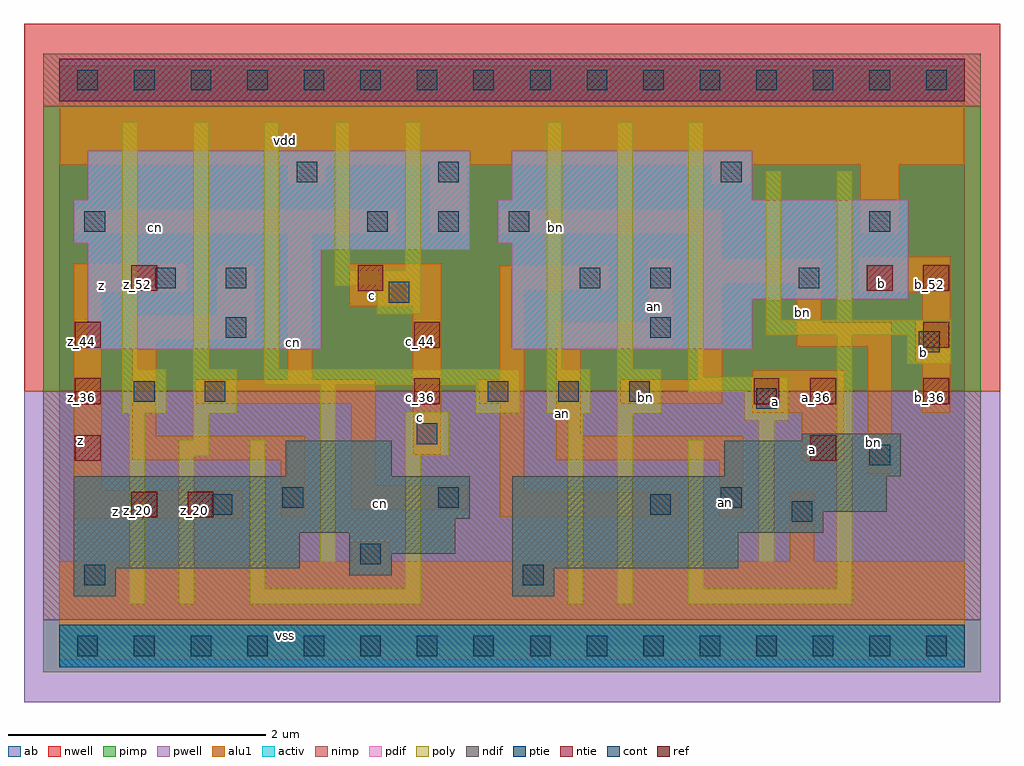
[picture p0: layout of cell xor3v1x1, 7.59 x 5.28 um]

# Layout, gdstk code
import gdstk
lib = gdstk.Library(unit=1e-6, precision=2.5e-09)
def R(c, l, rs):  # rectangles x0, y0, x1, y1
    for r in rs: c.add(gdstk.rectangle(r[:2], r[2:], *l))
def A(c, l, x, y, w, h, nx, ny, dx, dy):  # array of equal rectangles
    R(c, l, [(x+i*dx, y+j*dy, x+i*dx+w, y+j*dy+h) for i in range(nx) for j in range(ny)])
ndif = (3, 0)
pdif = (4, 0)
ntie = (5, 0)
ptie = (6, 0)
ref = (24, 0)
cont = (25, 0)
pwell = (41, 0)
nwell = (42, 0)
activ = (43, 0)
pimp = (44, 0)
nimp = (45, 0)
poly = (46, 0)
alu1 = (49, 0)
ab = (63, 0)

xor3v1x1 = lib.new_cell('xor3v1x1')
R(xor3v1x1, ndif, [(0.11,0.385,0.44,0.605), (3.52,0.385,3.85,0.605), (2.255,0.55,2.585,0.715), (0.11,0.605,1.87,0.88), (3.52,0.605,5.28,0.88), (2.255,0.715,3.08,0.88), (0.11,0.88,3.08,0.99), (3.52,0.88,5.94,1.045), (0.11,0.99,3.19,1.32), (3.52,1.045,6.435,1.32), (1.76,1.32,2.585,1.595), (5.17,1.32,6.545,1.595), (5.775,1.595,6.545,1.65)])
R(xor3v1x1, pdif, [(0.22,2.31,2.035,3.08), (3.52,2.31,5.39,2.695), (3.52,2.695,6.6,3.135), (0.22,3.08,3.19,3.135), (0.11,3.135,3.19,3.465), (3.41,3.135,6.6,3.465), (0.22,3.465,3.19,3.85), (3.52,3.465,5.39,3.85)])
R(xor3v1x1, ntie, [(0,4.235,7.04,4.565)])
R(xor3v1x1, ptie, [(0,-0.165,7.04,0.165)])
A(xor3v1x1, ref, 0.12, 1.88, 0.2, 0.2, 3, 1, 2.64, 0)
A(xor3v1x1, ref, 6.72, 1.88, 0.2, 0.2, 1, 3, 0, 0.44)
R(xor3v1x1, ref, [(0.56,1,0.76,1.2), (1,1,1.2,1.2), (0.12,1.44,0.32,1.64), (5.84,1.44,6.04,1.64), (5.84,1.88,6.04,2.08), (0.12,2.32,0.32,2.52), (2.76,2.32,2.96,2.52), (0.56,2.76,0.76,2.96), (2.32,2.76,2.52,2.96), (6.28,2.76,6.48,2.96)])
A(xor3v1x1, cont, 0.14, -0.08, 0.16, 0.16, 16, 2, 0.44, 4.4)
A(xor3v1x1, cont, 3.33, 1.9, 0.16, 0.16, 3, 1, 0.55, 0)
A(xor3v1x1, cont, 2.395, 3.22, 0.16, 0.16, 3, 1, 0.55, 0)
R(xor3v1x1, cont, [(0.195,0.47,0.355,0.63), (3.605,0.47,3.765,0.63), (2.34,0.635,2.5,0.795), (5.695,0.965,5.855,1.125), (1.185,1.02,1.345,1.18), (4.595,1.02,4.755,1.18), (1.735,1.075,1.895,1.235), (2.945,1.075,3.105,1.235), (5.145,1.075,5.305,1.235), (6.3,1.405,6.46,1.565), (2.78,1.57,2.94,1.73), (5.42,1.845,5.58,2.005), (0.58,1.9,0.74,2.06), (1.13,1.9,1.29,2.06), (6.685,2.285,6.845,2.445), (1.295,2.395,1.455,2.555), (4.595,2.395,4.755,2.555), (2.56,2.67,2.72,2.83), (0.745,2.78,0.905,2.94), (1.295,2.78,1.455,2.94), (4.045,2.78,4.205,2.94), (4.595,2.78,4.755,2.94), (5.75,2.78,5.91,2.94), (0.195,3.22,0.355,3.38), (6.3,3.22,6.46,3.38), (1.845,3.605,2.005,3.765), (2.945,3.605,3.105,3.765), (5.145,3.605,5.305,3.765)])
R(xor3v1x1, pwell, [(-0.275,-0.44,7.315,1.98)])
R(xor3v1x1, nwell, [(-0.275,1.98,7.315,4.84)])
R(xor3v1x1, activ, [(0,-0.165,7.04,0.165), (0.11,0.385,0.44,0.605), (3.52,0.385,3.85,0.605), (2.255,0.55,2.585,0.715), (0.11,0.605,1.87,0.88), (3.52,0.605,5.28,0.88), (2.255,0.715,3.08,0.88), (0.11,0.88,3.08,0.99), (3.52,0.88,5.94,1.045), (0.11,0.99,3.19,1.32), (3.52,1.045,6.435,1.32), (1.76,1.32,2.585,1.595), (5.17,1.32,6.545,1.595), (5.775,1.595,6.545,1.65), (0.22,2.31,2.035,3.08), (3.52,2.31,5.39,2.695), (3.52,2.695,6.6,3.135), (0.22,3.08,3.19,3.135), (0.11,3.135,3.19,3.465), (3.41,3.135,6.6,3.465), (0.22,3.465,3.19,3.85), (3.52,3.465,5.39,3.85), (0,4.235,7.04,4.565)])
R(xor3v1x1, pimp, [(-0.125,-0.205,7.165,0.205), (-0.125,1.98,7.165,4.195)])
R(xor3v1x1, nimp, [(-0.125,0.205,7.165,1.98), (-0.125,4.195,7.165,4.605)])
A(xor3v1x1, poly, 0.49, 2.15, 0.12, 1.925, 3, 1, 0.55, 0)
R(xor3v1x1, poly, [(0.545,0.325,0.665,1.81), (0.93,0.325,1.05,1.48), (1.48,0.325,2.81,0.445), (3.955,0.325,4.075,1.81), (4.34,0.325,4.46,1.81), (4.89,0.325,6.165,0.445), (1.48,0.445,1.6,1.6), (2.69,0.445,2.81,1.48), (4.89,0.445,5.01,1.6), (6.045,0.445,6.165,2.415), (2.03,0.655,2.15,2.03), (5.44,0.655,5.56,1.755), (0.93,1.48,1.16,1.6), (2.69,1.48,3.03,1.82), (1.04,1.6,1.16,1.81), (5.33,1.755,5.67,1.975), (0.49,1.81,0.83,2.15), (1.04,1.81,1.38,2.15), (3.24,1.81,3.58,2.03), (3.79,1.81,4.13,2.15), (4.34,1.81,4.68,2.15), (4.89,1.975,5.67,2.095), (1.59,2.03,3.58,2.15), (4.89,2.095,5.01,4.075), (3.79,2.15,3.91,4.075), (4.34,2.15,4.46,4.075), (6.595,2.195,6.935,2.415), (5.495,2.415,6.935,2.535), (5.495,2.535,5.615,3.69), (6.045,2.535,6.165,3.69), (2.47,2.58,2.81,2.8), (2.14,2.8,2.81,2.92), (2.14,2.92,2.26,4.075), (2.69,2.92,2.81,4.075)])
R(xor3v1x1, alu1, [(0,-0.11,7.04,0.66), (2.27,0.66,2.57,0.81), (5.68,0.66,5.87,1.195), (0.11,0.99,1.43,1.21), (1.72,1.005,1.91,1.445), (3.425,1.005,4.825,1.195), (5.13,1.005,5.32,1.445), (2.27,1.06,3.175,1.25), (3.425,1.195,3.615,1.885), (0.11,1.21,0.33,2.75), (2.27,1.25,2.46,1.885), (6.285,1.335,6.475,2.325), (5.775,1.43,6.105,1.815), (0.565,1.445,1.91,1.635), (3.865,1.445,5.32,1.635), (2.75,1.485,2.97,2.64), (0.565,1.635,0.755,2.38), (3.865,1.635,4.055,2.325), (5.39,1.815,6.105,2.145), (6.71,1.815,6.93,2.2), (1.06,1.885,2.46,2.075), (3.26,1.885,3.615,2.075), (4.36,1.885,5.155,2.075), (1.775,2.075,1.965,3.205), (3.425,2.075,3.615,2.765), (4.965,2.075,5.155,2.82), (6.655,2.2,6.93,2.53), (3.865,2.325,4.77,2.515), (5.735,2.325,6.475,2.515), (0.565,2.38,1.525,2.57), (4.58,2.515,4.77,3.01), (5.735,2.515,5.925,2.82), (6.71,2.53,6.93,2.75), (1.225,2.57,1.525,2.955), (2.255,2.64,2.97,2.97), (0.11,2.75,0.99,2.97), (6.215,2.75,6.93,3.025), (3.425,2.765,4.275,2.955), (4.965,2.82,5.925,3.01), (4.965,3.01,5.155,3.205), (0.125,3.205,2.625,3.395), (2.875,3.205,3.175,3.74), (3.425,3.205,5.155,3.395), (6.23,3.205,6.53,3.74), (1.775,3.59,2.075,3.74), (5.075,3.59,5.375,3.74), (0,3.74,7.04,4.51)])
R(xor3v1x1, ab, [(0,0,7.04,4.4)])
xor3v1x1.add(gdstk.Label('vss', (1.76,0.0825), layer=49, texttype=0))
xor3v1x1.add(gdstk.Label('b', (6.7225,2.2825), layer=49, texttype=0))
xor3v1x1.add(gdstk.Label('bn', (6.3325,1.5825), layer=49, texttype=0))
xor3v1x1.add(gdstk.Label('a', (5.8575,1.525), layer=49, texttype=0))
xor3v1x1.add(gdstk.Label('an', (5.1775,1.115), layer=49, texttype=0))
xor3v1x1.add(gdstk.Label('a', (5.5675,1.8975), layer=49, texttype=0))
xor3v1x1.add(gdstk.Label('bn', (4.5575,1.9325), layer=49, texttype=0))
xor3v1x1.add(gdstk.Label('b', (6.3925,2.8175), layer=49, texttype=0))
xor3v1x1.add(gdstk.Label('bn', (5.7825,2.59), layer=49, texttype=0))
xor3v1x1.add(gdstk.Label('an', (3.9125,1.8075), layer=49, texttype=0))
xor3v1x1.add(gdstk.Label('cn', (2.495,1.1075), layer=49, texttype=0))
xor3v1x1.add(gdstk.Label('an', (4.6275,2.6375), layer=49, texttype=0))
xor3v1x1.add(gdstk.Label('c', (2.805,1.7725), layer=49, texttype=0))
xor3v1x1.add(gdstk.Label('z', (0.44,1.045), layer=49, texttype=0))
xor3v1x1.add(gdstk.Label('c', (2.4325,2.7225), layer=49, texttype=0))
xor3v1x1.add(gdstk.Label('cn', (1.8225,2.3575), layer=49, texttype=0))
xor3v1x1.add(gdstk.Label('z', (0.165,1.595), layer=49, texttype=0))
xor3v1x1.add(gdstk.Label('z', (0.33,2.805), layer=49, texttype=0))
xor3v1x1.add(gdstk.Label('bn', (3.8575,3.2525), layer=49, texttype=0))
xor3v1x1.add(gdstk.Label('cn', (0.75,3.2525), layer=49, texttype=0))
xor3v1x1.add(gdstk.Label('vdd', (1.76,3.9325), layer=49, texttype=0))
xor3v1x1.add(gdstk.Label('b_36', (6.77,1.93), layer=24, texttype=0))
xor3v1x1.add(gdstk.Label('b_44', (6.77,2.37), layer=24, texttype=0))
xor3v1x1.add(gdstk.Label('b_52', (6.33,2.81), layer=24, texttype=0))
xor3v1x1.add(gdstk.Label('b_52', (6.77,2.81), layer=24, texttype=0))
xor3v1x1.add(gdstk.Label('c_44', (2.81,2.37), layer=24, texttype=0))
xor3v1x1.add(gdstk.Label('c_36', (2.81,1.93), layer=24, texttype=0))
xor3v1x1.add(gdstk.Label('c_52', (2.37,2.81), layer=24, texttype=0))
xor3v1x1.add(gdstk.Label('z_44', (0.17,2.37), layer=24, texttype=0))
xor3v1x1.add(gdstk.Label('z_36', (0.17,1.93), layer=24, texttype=0))
xor3v1x1.add(gdstk.Label('z_28', (0.17,1.49), layer=24, texttype=0))
xor3v1x1.add(gdstk.Label('z_20', (1.05,1.05), layer=24, texttype=0))
xor3v1x1.add(gdstk.Label('z_52', (0.61,2.81), layer=24, texttype=0))
xor3v1x1.add(gdstk.Label('z_20', (0.61,1.05), layer=24, texttype=0))
xor3v1x1.add(gdstk.Label('a_36', (5.89,1.93), layer=24, texttype=0))
xor3v1x1.add(gdstk.Label('a_28', (5.89,1.49), layer=24, texttype=0))
xor3v1x1.add(gdstk.Label('a_36', (5.45,1.93), layer=24, texttype=0))

lib.write_gds('xor3v1x1.gds')
